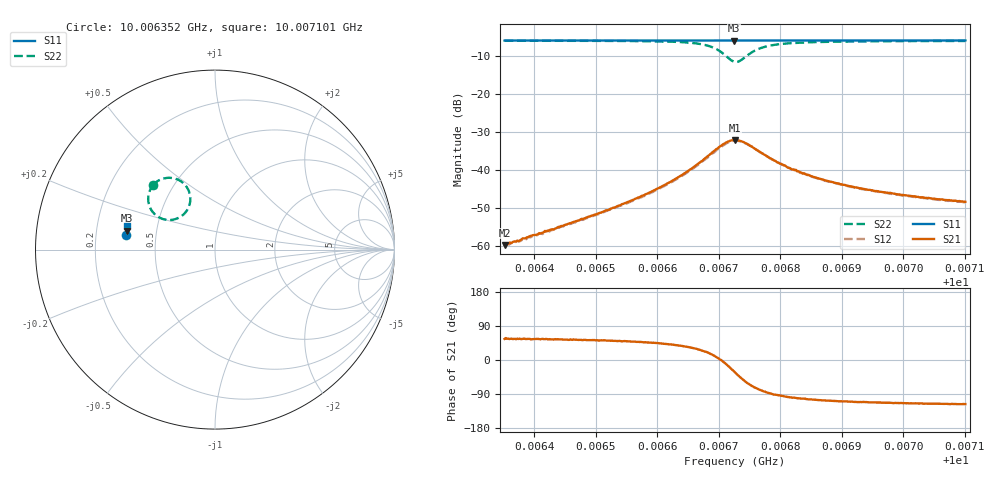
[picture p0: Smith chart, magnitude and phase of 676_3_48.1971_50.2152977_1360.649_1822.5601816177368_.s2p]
#  HZ  S  RI  R  50.00
! Rohde & Schwarz Vector Network Analyzer
! Rohde-Schwarz,ZNB20-2Port,1311601062101988,3.16
! Created: UTC 3/20/2024, 12:06:21 PM
! freq[Hz]  re:S11  im:S11  re:S21  im:S21  re:S12  im:S12  re:S22  im:S22
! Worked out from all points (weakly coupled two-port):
!   401 points, 10.006352 GHz to 10.007101 GHz, reference 50 ohm
!   highest |S21| = -32.17 dB at 10.006726 GHz (marker M1); lowest = -59.8 dB at 10.006352 GHz (marker M2)
!   lowest |S11| = -6.0 dB at 10.006724 GHz (marker M3), VSWR 3.02, Z = 16.7 + j4.74 ohm
!   |S11| at or under -10 dB: nowhere
!   |S22| runs from -11.6 to -6.0 dB; largest |S21 - S12| = 0.0021
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1.00063516e10  -0.4971 0.0827  0.00058 0.000846  0.000509 0.000846  -0.347 0.3601
1.00063741e10  -0.497 0.0842  0.000651 0.000943  0.000583 0.000993  -0.3449 0.3621
1.00064771e10  -0.496 0.091  0.00137 0.0018  0.00125 0.00182  -0.3322 0.373
1.00065482e10  -0.4952 0.0959  0.00238 0.0028  0.00216 0.00284  -0.3172 0.3834
1.00066025e10  -0.4944 0.0994  0.00413 0.00402  0.00386 0.00414  -0.2952 0.3934
1.00066437e10  -0.4937 0.1022  0.00723 0.00526  0.00676 0.00546  -0.2619 0.4
1.00066812e10  -0.4924 0.1048  0.0141 0.00519  0.0132 0.00567  -0.1978 0.3852
1.00066943e10  -0.4919 0.1056  0.018 0.00289  0.017 0.00396  -0.1654 0.3587
1.00067074e10  -0.4914 0.1059  0.0217 -0.00181  0.0211 -0.000373  -0.1398 0.3063
1.00067168e10  -0.4909 0.1058  0.0226 -0.00748  0.0225 -0.00568  -0.1409 0.2536
1.00067243e10  -0.4908 0.1059  0.0213 -0.0122  0.0218 -0.0103  -0.1611 0.2115
1.00067262e10  -0.4909 0.106  0.0207 -0.0134  0.0214 -0.0115  -0.1688 0.2024
1.00067336e10  -0.491 0.106  0.0173 -0.0168  0.0183 -0.0153  -0.2066 0.1753
1.0006743e10  -0.4915 0.1064  0.0122 -0.0188  0.0135 -0.0177  -0.2586 0.165
1.00067561e10  -0.4918 0.1071  0.00645 -0.0184  0.00766 -0.0179  -0.3146 0.1812
1.00067711e10  -0.4921 0.1081  0.00239 -0.0163  0.00324 -0.016  -0.3493 0.2126
1.00067917e10  -0.4921 0.1097  -0.000341 -0.0131  0.00032 -0.0129  -0.3676 0.2498
1.00068142e10  -0.4921 0.1113  -0.00148 -0.0105  -0.00102 -0.0105  -0.3721 0.2774
1.00068516e10  -0.4917 0.1141  -0.00202 -0.00793  -0.00164 -0.0079  -0.37 0.3056
1.00069116e10  -0.4911 0.1178  -0.00206 -0.00574  -0.00179 -0.0058  -0.3626 0.3291
1.00069771e10  -0.4902 0.1223  -0.00194 -0.00457  -0.00171 -0.00455  -0.3554 0.3436
1.00071007e10  -0.4883 0.1302  -0.00168 -0.0034  -0.00149 -0.00342  -0.3446 0.3595
